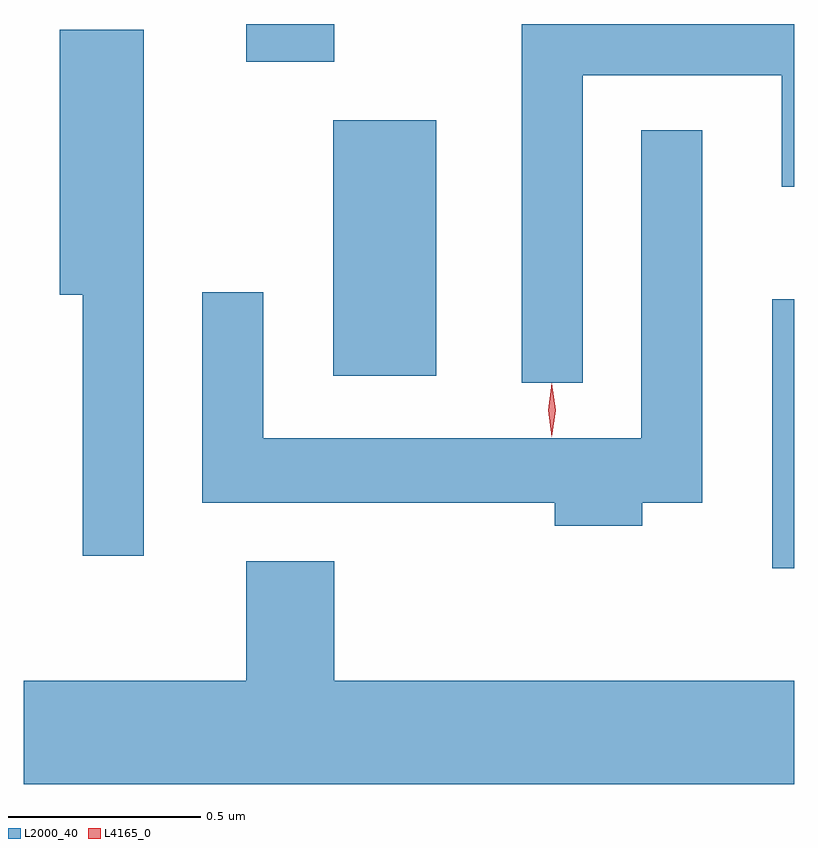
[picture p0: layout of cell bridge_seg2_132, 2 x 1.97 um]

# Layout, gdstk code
import gdstk
lib = gdstk.Library(unit=1e-6, precision=1e-09)
def R(c, l, rs):  # rectangles x0, y0, x1, y1
    for r in rs: c.add(gdstk.rectangle(r[:2], r[2:], *l))
def P(c, l, *ps):  # polygons
    for p in ps: c.add(gdstk.Polygon(p, *l))
L2000_40 = (2000, 40)
L4165_0 = (4165, 0)

bridge_seg2_132 = lib.new_cell('bridge_seg2_132')
R(bridge_seg2_132, L2000_40, [(980.826,1055.536,980.883,1056.234), (979.686,1056.036,979.954,1056.699), (979.461,1056.851,979.689,1056.949)])
P(bridge_seg2_132, L2000_40, [(980.334,1056.816),(980.851,1056.816),(980.851,1056.526),(980.883,1056.526),(980.883,1056.949),(980.176,1056.949),(980.176,1056.018),(980.334,1056.018)],
  [(979.194,1056.934),(978.976,1056.934),(978.976,1056.246),(979.036,1056.246),(979.036,1055.568),(979.194,1055.568)],
  [(980.489,1055.706),(980.644,1055.706),(980.644,1056.673),(980.486,1056.673),(980.486,1055.874),(979.504,1055.874),(979.504,1056.253),(979.346,1056.253),(979.346,1055.706),(980.261,1055.706),(980.261,1055.646),(980.489,1055.646)],
  [(980.883,1055.244),(979.689,1055.244),(979.689,1055.554),(979.461,1055.554),(979.461,1055.244),(978.883,1055.244),(978.883,1054.976),(980.883,1054.976)])
P(bridge_seg2_132, L4165_0, [(980.253,1055.877),(980.244,1055.946),(980.253,1056.016),(980.254,1056.016),(980.254,1056.016),(980.264,1055.946),(980.254,1055.877),(980.254,1055.877)],
  [(980.254,1055.879),(980.253,1055.88),(980.244,1055.946),(980.253,1056.012),(980.254,1056.013),(980.254,1056.012),(980.264,1055.946),(980.254,1055.88)])

lib.write_gds('bridge_seg2_132.gds')
